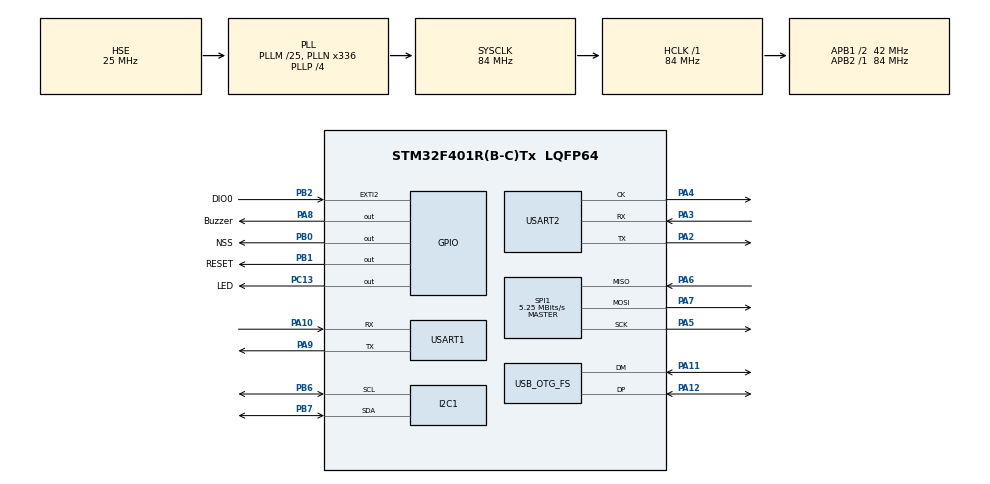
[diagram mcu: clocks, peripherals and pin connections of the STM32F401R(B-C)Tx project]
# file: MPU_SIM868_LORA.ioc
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FREERTOS.Tasks01=MPU6050Task,3,128,MPU6050_Task,Default,NULL,Dynamic,NULL,NULL;DecodeTask,2,128,Decode_Task,Default,NULL,Dynamic,NULL,NULL;MQTTPublishTask,1,128,MQTT_Publish_Task,Default,NULL,Dynamic,NULL,NULL;GPSTask,1,128,GPS_Task,Default,NULL,Dynamic,NULL,NULL;SignalDetection,1,128,Signal_Detection,Default,NULL,Dynamic,NULL,NULL;SenderTask,0,128,Sender_Task,Default,NULL,Dynamic,NULL,NULL;LoRaReceiveTask,-1,128,LoRa_Receive_Task,Default,NULL,Dynamic,NULL,NULL
Mcu.Family=STM32F4
Mcu.Name=STM32F401R(B-C)Tx
Mcu.Package=LQFP64
NVIC.EXTI2_IRQn=true\:5\:0\:false\:false\:true\:true\:true\:true\:true
NVIC.OTG_FS_IRQn=true\:5\:0\:false\:false\:true\:true\:false\:true\:true
NVIC.PriorityGroup=NVIC_PRIORITYGROUP_4
NVIC.TIM3_IRQn=true\:15\:0\:false\:false\:true\:false\:false\:true\:true
NVIC.TimeBase=TIM3_IRQn
NVIC.TimeBaseIP=TIM3
PA10.Mode=Asynchronous
PA10.Signal=USART1_RX
PA11.Mode=Device_Only
PA11.Signal=USB_OTG_FS_DM
PA12.Mode=Device_Only
PA12.Signal=USB_OTG_FS_DP
PA13.Mode=Trace_Asynchronous_SW
PA13.Signal=SYS_JTMS-SWDIO
PA14.Mode=Trace_Asynchronous_SW
PA14.Signal=SYS_JTCK-SWCLK
PA2.Mode=Synchronous
PA2.Signal=USART2_TX
PA3.Mode=Synchronous
PA3.Signal=USART2_RX
PA4.Mode=Synchronous
PA4.Signal=USART2_CK
PA5.Mode=Full_Duplex_Master
PA5.Signal=SPI1_SCK
PA6.Mode=Full_Duplex_Master
PA6.Signal=SPI1_MISO
PA7.Mode=Full_Duplex_Master
PA7.Signal=SPI1_MOSI
PA8.GPIO_Label=Buzzer
PA8.PinState=GPIO_PIN_RESET
PA8.Signal=GPIO_Output
PA9.Mode=Asynchronous
PA9.Signal=USART1_TX
PB0.GPIO_Label=NSS
PB0.PinState=GPIO_PIN_SET
PB0.Signal=GPIO_Output
PB1.GPIO_Label=RESET
PB1.PinState=GPIO_PIN_SET
PB1.Signal=GPIO_Output
PB2.GPIO_Label=DIO0
PB2.Signal=GPXTI2
PB3.Mode=Trace_Asynchronous_SW
PB3.Signal=SYS_JTDO-SWO
PB6.Mode=I2C
PB6.Signal=I2C1_SCL
PB7.Mode=I2C
PB7.Signal=I2C1_SDA
PC13-ANTI_TAMP.GPIO_Label=LED
PC13-ANTI_TAMP.PinState=GPIO_PIN_SET
PC13-ANTI_TAMP.Signal=GPIO_Output
PH0\ -\ OSC_IN.Mode=HSE-External-Oscillator
PH0\ -\ OSC_IN.Signal=RCC_OSC_IN
PH1\ -\ OSC_OUT.Mode=HSE-External-Oscillator
PH1\ -\ OSC_OUT.Signal=RCC_OSC_OUT
ProjectManager.HeapSize=0x200
ProjectManager.StackSize=0x400
ProjectManager.TargetToolchain=STM32CubeIDE
RCC.48MHZClocksFreq_Value=48000000
RCC.AHBFreq_Value=84000000
RCC.APB1CLKDivider=RCC_HCLK_DIV2
RCC.APB1Freq_Value=42000000
RCC.APB1TimFreq_Value=84000000
RCC.APB2Freq_Value=84000000
RCC.APB2TimFreq_Value=84000000
RCC.CortexFreq_Value=84000000
RCC.HCLKFreq_Value=84000000
RCC.HSE_VALUE=25000000
RCC.HSI_VALUE=16000000
RCC.LSE_VALUE=32768
RCC.PLLM=25
RCC.PLLN=336
RCC.PLLP=RCC_PLLP_DIV4
RCC.PLLQ=7
RCC.SYSCLKFreq_VALUE=84000000
RCC.SYSCLKSource=RCC_SYSCLKSOURCE_PLLCLK
RCC.VCOOutputFreq_Value=336000000
SPI1.BaudRatePrescaler=SPI_BAUDRATEPRESCALER_16
SPI1.CalculateBaudRate=5.25 MBits/s
SPI1.Direction=SPI_DIRECTION_2LINES
SPI1.Mode=SPI_MODE_MASTER
SPI1.VirtualType=VM_MASTER
USART1.VirtualMode=VM_ASYNC
USART2.VirtualMode=VM_SYNC
USB_DEVICE.CLASS_NAME_FS=CDC
USB_DEVICE.VirtualMode=Cdc
USB_DEVICE.VirtualModeFS=Cdc_FS
USB_OTG_FS.VirtualMode=Device_Only
VP_CRC_VS_CRC.Mode=CRC_Activate
VP_FREERTOS_VS_CMSIS_V1.Mode=CMSIS_V1
VP_SYS_VS_tim3.Mode=TIM3
VP_USB_DEVICE_VS_USB_DEVICE_CDC_FS.Mode=CDC_FS
board=custom

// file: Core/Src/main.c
/* USER CODE BEGIN Header */
/**
  ******************************************************************************
  * @file           : main.c
  * @brief          : CarSYnc_2
  ******************************************************************************
  * @attention
  *
  * Copyright (c) 2025 STMicroelectronics.
  * All rights reserved.
  *
  * This software is licensed under terms that can be found in the LICENSE file
  * in the root directory of this software component.
  * If no LICENSE file comes with this software, it is provided AS-IS.
  *
  ******************************************************************************
  */
/* USER CODE END Header */
#include "main.h"
#include "cmsis_os.h"
#include "usb_device.h"

/* USER CODE BEGIN Includes */

#include "mpu_6050_task.h"
#include "lora_config.h"
#include "ack_handler.h"
#include "usbd_cdc_if.h"
#include "SIM868.h"

/* USER CODE END Includes */

CRC_HandleTypeDef hcrc;

I2C_HandleTypeDef hi2c1;

SPI_HandleTypeDef hspi1;

UART_HandleTypeDef huart1;
USART_HandleTypeDef husart2;

osThreadId MPU6050TaskHandle;
osThreadId DecodeTaskHandle;
osThreadId MQTTPublishTaskHandle;
osThreadId GPSTaskHandle;
osThreadId SignalDetectionHandle;
osThreadId SenderTaskHandle;
osThreadId LoRaReceiveTaskHandle;
/* USER CODE BEGIN PV */
MPU6050_t MPU6050;
LoRa myLoRa;
uint8_t receivedFlag = 0;

bool useLoRa = false;         // Fallback flag
GPS_Location_t lastKnownLocation = {0}; // Store GPS data
/* USER CODE END PV */

void SystemClock_Config(void);
static void MX_GPIO_Init(void);
static void MX_CRC_Init(void);
static void MX_I2C1_Init(void);
static void MX_SPI1_Init(void);
static void MX_USART2_Init(void);
static void MX_USART1_UART_Init(void);
void MPU6050_Task(void const * argument);
void Decode_Task(void const * argument);
void MQTT_Publish_Task(void const * argument);
void GPS_Task(void const * argument);
void Signal_Detection(void const * argument);
void Sender_Task(void const * argument);
void LoRa_Receive_Task(void const * argument);

/* USER CODE BEGIN PFP */
void HAL_GPIO_EXTI_Callback(uint16_t GPIO_Pin);

/* USER CODE END PFP */

int main(void)
{

  /* MCU Configuration--------------------------------------------------------*/

  /* Reset of all peripherals, Initializes the Flash interface and the Systick. */
  HAL_Init();

  /* Configure the system clock */
  SystemClock_Config();

  /* Initialize all configured peripherals */
  MX_GPIO_Init();
  MX_CRC_Init();
  MX_I2C1_Init();
  MX_SPI1_Init();
  MX_USART2_Init();
  MX_USART1_UART_Init();
  /* USER CODE BEGIN 2 */

  // Initialize sensors and modules
    MPU6050_Init(&hi2c1);
    SIM868_Init(&huart1);
    LoRa_Init();

	 // Start LoRa receiving
	  LoRa_startReceiving(&myLoRa);

  /* USER CODE END 2 */

  /* Create the thread(s) */
  /* definition and creation of MPU6050Task */
  osThreadDef(MPU6050Task, MPU6050_Task, osPriorityRealtime, 0, 128);
  MPU6050TaskHandle = osThreadCreate(osThread(MPU6050Task), NULL);

  /* definition and creation of DecodeTask */
  osThreadDef(DecodeTask, Decode_Task, osPriorityHigh, 0, 128);
  DecodeTaskHandle = osThreadCreate(osThread(DecodeTask), NULL);

  /* definition and creation of MQTTPublishTask */
  osThreadDef(MQTTPublishTask, MQTT_Publish_Task, osPriorityAboveNormal, 0, 128);
  MQTTPublishTaskHandle = osThreadCreate(osThread(MQTTPublishTask), NULL);

  /* definition and creation of GPSTask */
  osThreadDef(GPSTask, GPS_Task, osPriorityAboveNormal, 0, 128);
  GPSTaskHandle = osThreadCreate(osThread(GPSTask), NULL);

  /* definition and creation of SignalDetection */
  osThreadDef(SignalDetection, Signal_Detection, osPriorityAboveNormal, 0, 128);
  SignalDetectionHandle = osThreadCreate(osThread(SignalDetection), NULL);

  /* definition and creation of SenderTask */
  osThreadDef(SenderTask, Sender_Task, osPriorityNormal, 0, 128);
  SenderTaskHandle = osThreadCreate(osThread(SenderTask), NULL);

  /* definition and creation of LoRaReceiveTask */
  osThreadDef(LoRaReceiveTask, LoRa_Receive_Task, osPriorityBelowNormal, 0, 128);
  LoRaReceiveTaskHandle = osThreadCreate(osThread(LoRaReceiveTask), NULL);

  /* Start scheduler */
  osKernelStart();

  /* We should never get here as control is now taken by the scheduler */

  /* Infinite loop */
  while (1)
  {

    /* USER CODE BEGIN 3 */
//	 if(check == 0)
//	 {
//	    MPU6050_Data(&hi2c1, &MPU6050);
//	    HAL_Delay(3000);
//	 }
//		if (receivedFlag)
//		{
//		 receivedFlag = 0;
//		 receiveAndsendACK_RX(&myLoRa);
	    vTaskDelay(pdMS_TO_TICKS(10));

//		 HAL_GPIO_TogglePin(Buzzer_GPIO_Port, Buzzer_Pin);
//		 HAL_Delay(100);
//		 HAL_GPIO_TogglePin(Buzzer_GPIO_Port, Buzzer_Pin);
//		 HAL_Delay(100);
//		 HAL_GPIO_TogglePin(Buzzer_GPIO_Port, Buzzer_Pin);
//     	 HAL_Delay(100);
//		 HAL_GPIO_WritePin(Buzzer_GPIO_Port, Buzzer_Pin, GPIO_PIN_RESET);
//     	 HAL_Delay(100);

		//}

  }
  /* USER CODE END 3 */
}

void SystemClock_Config(void)
{
  RCC_OscInitTypeDef RCC_OscInitStruct = {0};
  RCC_ClkInitTypeDef RCC_ClkInitStruct = {0};

  /** Configure the main internal regulator output voltage
  */
  __HAL_RCC_PWR_CLK_ENABLE();
  __HAL_PWR_VOLTAGESCALING_CONFIG(PWR_REGULATOR_VOLTAGE_SCALE2);

  /** Initializes the RCC Oscillators according to the specified parameters
  * in the RCC_OscInitTypeDef structure.
  */
  RCC_OscInitStruct.OscillatorType = RCC_OSCILLATORTYPE_HSE;
  RCC_OscInitStruct.HSEState = RCC_HSE_ON;
  RCC_OscInitStruct.PLL.PLLState = RCC_PLL_ON;
  RCC_OscInitStruct.PLL.PLLSource = RCC_PLLSOURCE_HSE;
  RCC_OscInitStruct.PLL.PLLM = 25;
  RCC_OscInitStruct.PLL.PLLN = 336;
  RCC_OscInitStruct.PLL.PLLP = RCC_PLLP_DIV4;
  RCC_OscInitStruct.PLL.PLLQ = 7;
  if (HAL_RCC_OscConfig(&RCC_OscInitStruct) != HAL_OK)
  {
    Error_Handler();
  }

  /** Initializes the CPU, AHB and APB buses clocks
  */
  RCC_ClkInitStruct.ClockType = RCC_CLOCKTYPE_HCLK|RCC_CLOCKTYPE_SYSCLK
                              |RCC_CLOCKTYPE_PCLK1|RCC_CLOCKTYPE_PCLK2;
  RCC_ClkInitStruct.SYSCLKSource = RCC_SYSCLKSOURCE_PLLCLK;
  RCC_ClkInitStruct.AHBCLKDivider = RCC_SYSCLK_DIV1;
  RCC_ClkInitStruct.APB1CLKDivider = RCC_HCLK_DIV2;
  RCC_ClkInitStruct.APB2CLKDivider = RCC_HCLK_DIV1;

  if (HAL_RCC_ClockConfig(&RCC_ClkInitStruct, FLASH_LATENCY_2) != HAL_OK)
  {
    Error_Handler();
  }
}

static void MX_CRC_Init(void)
{

  hcrc.Instance = CRC;
  if (HAL_CRC_Init(&hcrc) != HAL_OK)
  {
    Error_Handler();
  }

}

static void MX_I2C1_Init(void)
{

  hi2c1.Instance = I2C1;
  hi2c1.Init.ClockSpeed = 100000;
  hi2c1.Init.DutyCycle = I2C_DUTYCYCLE_2;
  hi2c1.Init.OwnAddress1 = 0;
  hi2c1.Init.AddressingMode = I2C_ADDRESSINGMODE_7BIT;
  hi2c1.Init.DualAddressMode = I2C_DUALADDRESS_DISABLE;
  hi2c1.Init.OwnAddress2 = 0;
  hi2c1.Init.GeneralCallMode = I2C_GENERALCALL_DISABLE;
  hi2c1.Init.NoStretchMode = I2C_NOSTRETCH_DISABLE;
  if (HAL_I2C_Init(&hi2c1) != HAL_OK)
  {
    Error_Handler();
  }

}

static void MX_SPI1_Init(void)
{

  /* SPI1 parameter configuration*/
  hspi1.Instance = SPI1;
  hspi1.Init.Mode = SPI_MODE_MASTER;
  hspi1.Init.Direction = SPI_DIRECTION_2LINES;
  hspi1.Init.DataSize = SPI_DATASIZE_8BIT;
  hspi1.Init.CLKPolarity = SPI_POLARITY_LOW;
  hspi1.Init.CLKPhase = SPI_PHASE_1EDGE;
  hspi1.Init.NSS = SPI_NSS_SOFT;
  hspi1.Init.BaudRatePrescaler = SPI_BAUDRATEPRESCALER_16;
  hspi1.Init.FirstBit = SPI_FIRSTBIT_MSB;
  hspi1.Init.TIMode = SPI_TIMODE_DISABLE;
  hspi1.Init.CRCCalculation = SPI_CRCCALCULATION_DISABLE;
  hspi1.Init.CRCPolynomial = 10;
  if (HAL_SPI_Init(&hspi1) != HAL_OK)
  {
    Error_Handler();
  }

}

static void MX_USART1_UART_Init(void)
{

  huart1.Instance = USART1;
  huart1.Init.BaudRate = 115200;
  huart1.Init.WordLength = UART_WORDLENGTH_8B;
  huart1.Init.StopBits = UART_STOPBITS_1;
  huart1.Init.Parity = UART_PARITY_NONE;
  huart1.Init.Mode = UART_MODE_TX_RX;
  huart1.Init.HwFlowCtl = UART_HWCONTROL_NONE;
  huart1.Init.OverSampling = UART_OVERSAMPLING_16;
  if (HAL_UART_Init(&huart1) != HAL_OK)
  {
    Error_Handler();
  }

}

static void MX_USART2_Init(void)
{

  husart2.Instance = USART2;
  husart2.Init.BaudRate = 115200;
  husart2.Init.WordLength = USART_WORDLENGTH_8B;
  husart2.Init.StopBits = USART_STOPBITS_1;
  husart2.Init.Parity = USART_PARITY_NONE;
  husart2.Init.Mode = USART_MODE_TX_RX;
  husart2.Init.CLKPolarity = USART_POLARITY_LOW;
  husart2.Init.CLKPhase = USART_PHASE_1EDGE;
  husart2.Init.CLKLastBit = USART_LASTBIT_DISABLE;
  if (HAL_USART_Init(&husart2) != HAL_OK)
  {
    Error_Handler();
  }

}

static void MX_GPIO_Init(void)
{
  GPIO_InitTypeDef GPIO_InitStruct = {0};

  /* GPIO Ports Clock Enable */
  __HAL_RCC_GPIOC_CLK_ENABLE();
  __HAL_RCC_GPIOH_CLK_ENABLE();
  __HAL_RCC_GPIOA_CLK_ENABLE();
  __HAL_RCC_GPIOB_CLK_ENABLE();

  /*Configure GPIO pin Output Level */
  HAL_GPIO_WritePin(LED_GPIO_Port, LED_Pin, GPIO_PIN_SET);

  /*Configure GPIO pin Output Level */
  HAL_GPIO_WritePin(GPIOB, NSS_Pin|RESET_Pin, GPIO_PIN_SET);

  /*Configure GPIO pin Output Level */
  HAL_GPIO_WritePin(Buzzer_GPIO_Port, Buzzer_Pin, GPIO_PIN_RESET);

  /*Configure GPIO pin : LED_Pin */
  GPIO_InitStruct.Pin = LED_Pin;
  GPIO_InitStruct.Mode = GPIO_MODE_OUTPUT_PP;
  GPIO_InitStruct.Pull = GPIO_NOPULL;
  GPIO_InitStruct.Speed = GPIO_SPEED_FREQ_LOW;
  HAL_GPIO_Init(LED_GPIO_Port, &GPIO_InitStruct);

  /*Configure GPIO pins : NSS_Pin RESET_Pin */
  GPIO_InitStruct.Pin = NSS_Pin|RESET_Pin;
  GPIO_InitStruct.Mode = GPIO_MODE_OUTPUT_PP;
  GPIO_InitStruct.Pull = GPIO_NOPULL;
  GPIO_InitStruct.Speed = GPIO_SPEED_FREQ_LOW;
  HAL_GPIO_Init(GPIOB, &GPIO_InitStruct);

  /*Configure GPIO pin : DIO0_Pin */
  GPIO_InitStruct.Pin = DIO0_Pin;
  GPIO_InitStruct.Mode = GPIO_MODE_IT_RISING;
  GPIO_InitStruct.Pull = GPIO_NOPULL;
  HAL_GPIO_Init(DIO0_GPIO_Port, &GPIO_InitStruct);

  /*Configure GPIO pin : Buzzer_Pin */
  GPIO_InitStruct.Pin = Buzzer_Pin;
  GPIO_InitStruct.Mode = GPIO_MODE_OUTPUT_PP;
  GPIO_InitStruct.Pull = GPIO_NOPULL;
  GPIO_InitStruct.Speed = GPIO_SPEED_FREQ_LOW;
  HAL_GPIO_Init(Buzzer_GPIO_Port, &GPIO_InitStruct);

  /* EXTI interrupt init*/
  HAL_NVIC_SetPriority(EXTI2_IRQn, 5, 0);
  HAL_NVIC_EnableIRQ(EXTI2_IRQn);

}

/* USER CODE BEGIN 4 */
void HAL_GPIO_EXTI_Callback(uint16_t GPIO_Pin) {
	if (GPIO_Pin == myLoRa.DIO0_pin) {
		// This indicates a packet has been received
		// We'll handle it in the main loop
		receivedFlag = 1;
	}
}

/* USER CODE END 4 */

void MPU6050_Task(void const * argument)
{
  /* init code for USB_DEVICE */
  MX_USB_DEVICE_Init();
  /* USER CODE BEGIN 5 */
  /* Infinite loop */
  for(;;)
  {
	  MPU6050_Data(&hi2c1, &MPU6050);
	  vTaskDelay(pdMS_TO_TICKS(500)); // Use FreeRTOS delay

	  }
  /* USER CODE END 5 */
}

void Decode_Task(void const * argument)
{
  for(;;)
  {
    osDelay(1);
  }
}

void MQTT_Publish_Task(void const * argument)
{
  for(;;)
  {
    osDelay(1);
  }
}

void GPS_Task(void const * argument)
{
  /* USER CODE BEGIN GPS_Task */
  /* Infinite loop */
  for(;;)
  {
	  if (SIM868_GetGPSLocation(&huart1, &lastKnownLocation) == SIM868_SUCCESS) {
	       char buffer[128];
	       snprintf(buffer, sizeof(buffer), "GPS: %s, %s\r\n", lastKnownLocation.lat_str, lastKnownLocation.lon_str);
	       CDC_Transmit_FS((uint8_t*)buffer, strlen(buffer));
	   }
	          vTaskDelay(pdMS_TO_TICKS(10000)); // Every 10 sec
   }
  /* USER CODE END GPS_Task */
}

void Signal_Detection(void const * argument)
{
  /* USER CODE BEGIN Signal_Detection */
  /* Infinite loop */
  for(;;)
  {
	  if (SIM868_check_signal(&huart1) == SIM868_SUCCESS) {
	              useLoRa = false;
	          } else {
	              useLoRa = true;
	          }
	          vTaskDelay(pdMS_TO_TICKS(5000)); // Every 5 sec
  }
  /* USER CODE END Signal_Detection */
}

void Sender_Task(void const * argument)
{
  /* USER CODE BEGIN Sender_Task */
	const char accidentMessage[] = "Vehicle flipped! Alert received.";
  /* Infinite loop */
  for(;;)
  {
	  ulTaskNotifyTake(pdTRUE, portMAX_DELAY);
	   if (vehicleFlipped)
	   {
		   if (!useLoRa)
		   {
			  char jsonPayload[256];
		   snprintf(jsonPayload, sizeof(jsonPayload),
				   "{\"accident\":true,\"location\":{\"lat\":%f,\"lon\":%f}}",
				   atof(lastKnownLocation.lat_str), atof(lastKnownLocation.lon_str));
		   SIM868_sendPostData(&huart1, jsonPayload);
		   } else {
			   sendMessageAndWaitForAck_TX(&myLoRa, (uint8_t*)accidentMessage);
		   }
		   vehicleFlipped = false;
	   }
	   vTaskDelay(pdMS_TO_TICKS(1000));
  }
  /* USER CODE END Sender_Task */
}

void LoRa_Receive_Task(void const * argument)
{
  /* USER CODE BEGIN LoRa_Receive_Task */
  /* Infinite loop */
  for(;;)
  {
	  if (receivedFlag)
	  {
		 receivedFlag = 0;
		 receiveAndsendACK_RX(&myLoRa);
	  }
	     vTaskDelay(pdMS_TO_TICKS(1000));
  }
  /* USER CODE END LoRa_Receive_Task */
}

void HAL_TIM_PeriodElapsedCallback(TIM_HandleTypeDef *htim)
{
  if (htim->Instance == TIM3)
  {
    HAL_IncTick();
  }
}

void Error_Handler(void)
{
  __disable_irq();
  while (1)
  {
  }
}
